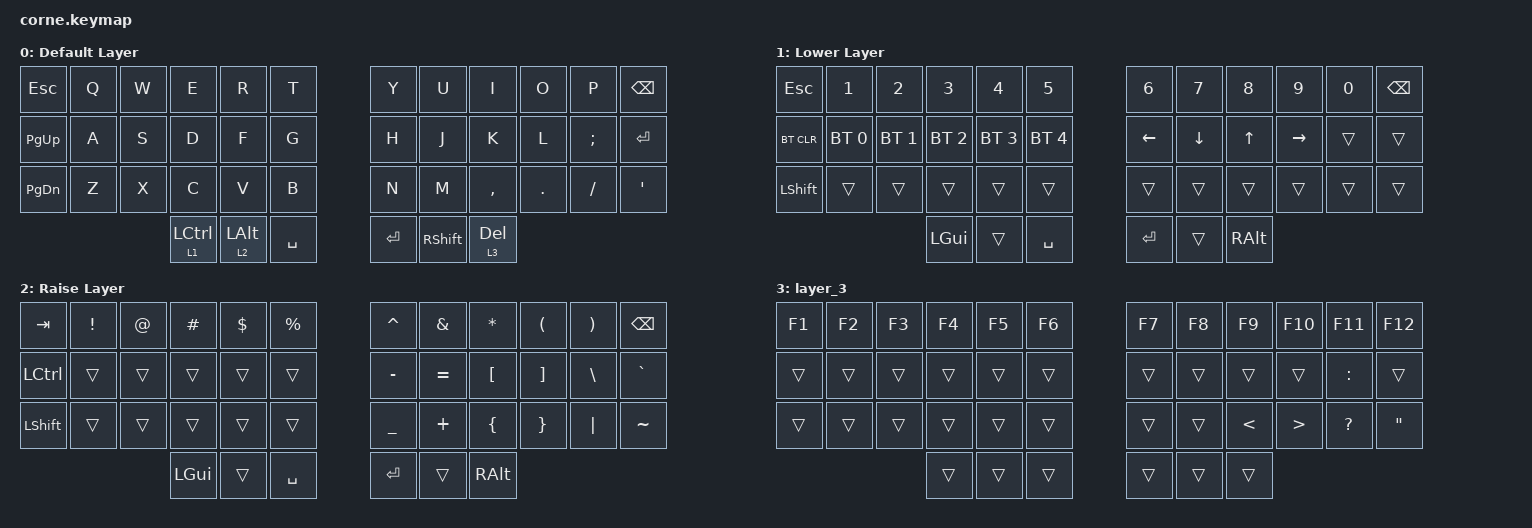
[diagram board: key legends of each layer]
/*
 * Copyright (c) 2020 The ZMK Contributors
 *
 * SPDX-License-Identifier: MIT
 */

#include <behaviors.dtsi>
#include <dt-bindings/zmk/bt.h>
#include <dt-bindings/zmk/keys.h>

/ {
    keymap {
        compatible = "zmk,keymap";

        default_layer {
            display-name = "Default Layer";

            // -----------------------------------------------------------------------------------------
            // |  TAB |  Q  |  W  |  E  |  R  |  T  |   |  Y  |  U   |  I  |  O  |  P  | BSPC |
            // | CTRL |  A  |  S  |  D  |  F  |  G  |   |  H  |  J   |  K  |  L  |  ;  |  '   |
            // | SHFT |  Z  |  X  |  C  |  V  |  B  |   |  N  |  M   |  ,  |  .  |  /  | ESC  |
            //                    | GUI | LWR | SPC |   | ENT | RSE  | ALT |

            bindings = <
&kp ESCAPE     &kp Q  &kp W  &kp E        &kp R           &kp T        &kp Y    &kp U            &kp I         &kp O    &kp P     &kp BSPC
&kp PAGE_UP    &kp A  &kp S  &kp D        &kp F           &kp G        &kp H    &kp J            &kp K         &kp L    &kp SEMI  &kp ENTER
&kp PAGE_DOWN  &kp Z  &kp X  &kp C        &kp V           &kp B        &kp N    &kp M            &kp COMMA     &kp DOT  &kp FSLH  &kp SQT
                             &lt 1 LCTRL  &lt 2 LEFT_ALT  &kp SPACE    &kp RET  &kp RIGHT_SHIFT  &lt 3 DELETE
            >;
        };

        lower_layer {
            display-name = "Lower Layer";

            // -----------------------------------------------------------------------------------------
            // |  TAB |  1  |  2  |  3  |  4  |  5  |   |  6  |  7  |  8  |  9  |  0  | BSPC |
            // | BTCLR| BT1 | BT2 | BT3 | BT4 | BT5 |   | LFT | DWN |  UP | RGT |     |      |
            // | SHFT |     |     |     |     |     |   |     |     |     |     |     |      |
            //                    | GUI |     | SPC |   | ENT |     | ALT |

            bindings = <
&kp ESCAPE  &kp N1        &kp N2        &kp N3        &kp N4        &kp N5          &kp N6    &kp N7    &kp N8    &kp N9     &kp N0  &kp BSPC
&bt BT_CLR  &bt BT_SEL 0  &bt BT_SEL 1  &bt BT_SEL 2  &bt BT_SEL 3  &bt BT_SEL 4    &kp LEFT  &kp DOWN  &kp UP    &kp RIGHT  &trans  &trans
&kp LSHFT   &trans        &trans        &trans        &trans        &trans          &trans    &trans    &trans    &trans     &trans  &trans
                                        &kp LGUI      &trans        &kp SPACE       &kp RET   &trans    &kp RALT
            >;
        };

        raise_layer {
            display-name = "Raise Layer";

            // -----------------------------------------------------------------------------------------
            // |  TAB |  !  |  @  |  #  |  $  |  %  |   |  ^  |  &  |  *  |  (  |  )  | BSPC |
            // | CTRL |     |     |     |     |     |   |  -  |  =  |  [  |  ]  |  \  |  `   |
            // | SHFT |     |     |     |     |     |   |  _  |  +  |  {  |  }  | "|" |  ~   |
            //                    | GUI |     | SPC |   | ENT |     | ALT |

            bindings = <
&kp TAB    &kp EXCL  &kp AT  &kp HASH  &kp DLLR  &kp PRCNT    &kp CARET  &kp AMPS   &kp ASTRK  &kp LPAR  &kp RPAR  &kp BSPC
&kp LCTRL  &trans    &trans  &trans    &trans    &trans       &kp MINUS  &kp EQUAL  &kp LBKT   &kp RBKT  &kp BSLH  &kp GRAVE
&kp LSHFT  &trans    &trans  &trans    &trans    &trans       &kp UNDER  &kp PLUS   &kp LBRC   &kp RBRC  &kp PIPE  &kp TILDE
                             &kp LGUI  &trans    &kp SPACE    &kp RET    &trans     &kp RALT
            >;
        };

        layer_3 {
            bindings = <
&kp F1  &kp F2  &kp F3  &kp F4  &kp F5  &kp F6    &kp F7  &kp F8  &kp F9         &kp F10           &kp F11       &kp F12
&trans  &trans  &trans  &trans  &trans  &trans    &trans  &trans  &trans         &trans            &kp COLON     &trans
&trans  &trans  &trans  &trans  &trans  &trans    &trans  &trans  &kp LESS_THAN  &kp GREATER_THAN  &kp QUESTION  &kp DOUBLE_QUOTES
                        &trans  &trans  &trans    &trans  &trans  &trans
            >;
        };
    };
};
